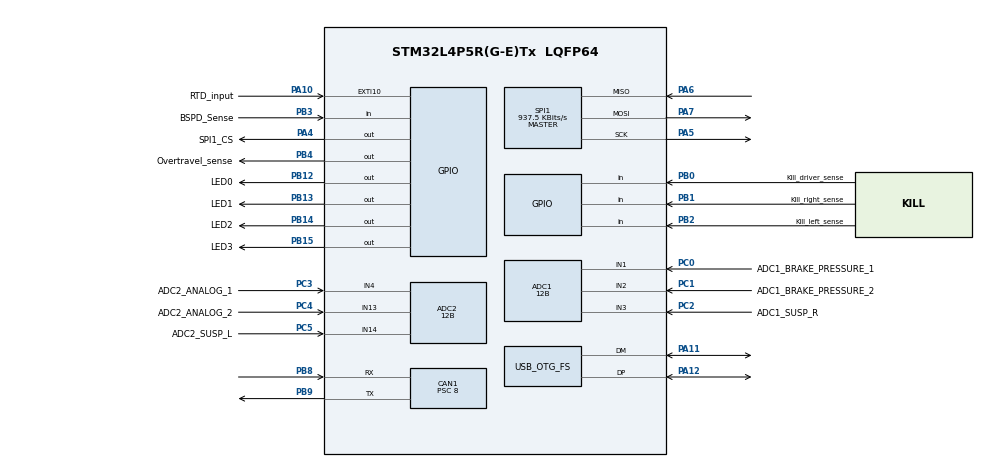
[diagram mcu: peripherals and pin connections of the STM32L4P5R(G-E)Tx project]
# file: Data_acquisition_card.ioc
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ADC1.Channel-0\#ChannelRegularConversion=ADC_CHANNEL_1
ADC1.Channel-1\#ChannelRegularConversion=ADC_CHANNEL_2
ADC1.Channel-2\#ChannelRegularConversion=ADC_CHANNEL_3
ADC1.ClockPrescaler=ADC_CLOCK_ASYNC_DIV2
ADC1.ContinuousConvMode=ENABLE
ADC1.DMAContinuousRequests=ENABLE
ADC1.NbrOfConversion=3
ADC1.NbrOfConversionFlag=1
ADC1.OffsetNumber-0\#ChannelRegularConversion=ADC_OFFSET_NONE
ADC1.OffsetNumber-1\#ChannelRegularConversion=ADC_OFFSET_NONE
ADC1.OffsetNumber-2\#ChannelRegularConversion=ADC_OFFSET_NONE
ADC1.Overrun=ADC_OVR_DATA_PRESERVED
ADC1.OversamplingMode=ENABLE
ADC1.Rank-0\#ChannelRegularConversion=1
ADC1.Rank-1\#ChannelRegularConversion=2
ADC1.Rank-2\#ChannelRegularConversion=3
ADC1.Ratio=ADC_OVERSAMPLING_RATIO_256
ADC1.Resolution=ADC_RESOLUTION_12B
ADC1.RightBitShift=ADC_RIGHTBITSHIFT_8
ADC1.SamplingTime-0\#ChannelRegularConversion=ADC_SAMPLETIME_92CYCLES_5
ADC1.SamplingTime-1\#ChannelRegularConversion=ADC_SAMPLETIME_92CYCLES_5
ADC1.SamplingTime-2\#ChannelRegularConversion=ADC_SAMPLETIME_92CYCLES_5
ADC1.master=1
ADC2.Channel-1\#ChannelRegularConversion=ADC_CHANNEL_4
ADC2.Channel-2\#ChannelRegularConversion=ADC_CHANNEL_13
ADC2.Channel-3\#ChannelRegularConversion=ADC_CHANNEL_14
ADC2.ClockPrescaler=ADC_CLOCK_ASYNC_DIV2
ADC2.ContinuousConvMode=ENABLE
ADC2.DMAContinuousRequests=ENABLE
ADC2.NbrOfConversion=3
ADC2.NbrOfConversionFlag=1
ADC2.OffsetNumber-1\#ChannelRegularConversion=ADC_OFFSET_NONE
ADC2.OffsetNumber-2\#ChannelRegularConversion=ADC_OFFSET_NONE
ADC2.OffsetNumber-3\#ChannelRegularConversion=ADC_OFFSET_NONE
ADC2.OversamplingMode=ENABLE
ADC2.Rank-1\#ChannelRegularConversion=1
ADC2.Rank-2\#ChannelRegularConversion=2
ADC2.Rank-3\#ChannelRegularConversion=3
ADC2.Ratio=ADC_OVERSAMPLING_RATIO_256
ADC2.Resolution=ADC_RESOLUTION_12B
ADC2.RightBitShift=ADC_RIGHTBITSHIFT_8
ADC2.SamplingTime-1\#ChannelRegularConversion=ADC_SAMPLETIME_92CYCLES_5
ADC2.SamplingTime-2\#ChannelRegularConversion=ADC_SAMPLETIME_92CYCLES_5
ADC2.SamplingTime-3\#ChannelRegularConversion=ADC_SAMPLETIME_92CYCLES_5
CAN1.BS1=CAN_BS1_12TQ
CAN1.BS2=CAN_BS2_2TQ
CAN1.CalculateBaudRate=999999
CAN1.CalculateTimeBit=1000
CAN1.CalculateTimeQuantum=66.66666666666667
CAN1.Prescaler=8
Dma.ADC1.0.Direction=DMA_PERIPH_TO_MEMORY
Dma.ADC1.0.EventEnable=DISABLE
Dma.ADC1.0.Instance=DMA1_Channel1
Dma.ADC1.0.MemDataAlignment=DMA_MDATAALIGN_HALFWORD
Dma.ADC1.0.MemInc=DMA_MINC_ENABLE
Dma.ADC1.0.Mode=DMA_CIRCULAR
Dma.ADC1.0.PeriphDataAlignment=DMA_PDATAALIGN_HALFWORD
Dma.ADC1.0.PeriphInc=DMA_PINC_DISABLE
Dma.ADC1.0.Polarity=HAL_DMAMUX_REQ_GEN_RISING
Dma.ADC1.0.Priority=DMA_PRIORITY_MEDIUM
Dma.ADC1.0.RequestNumber=1
Dma.ADC1.0.SignalID=NONE
Dma.ADC1.0.SyncEnable=DISABLE
Dma.ADC1.0.SyncPolarity=HAL_DMAMUX_SYNC_NO_EVENT
Dma.ADC1.0.SyncRequestNumber=1
Dma.ADC1.0.SyncSignalID=NONE
Dma.ADC2.1.Direction=DMA_PERIPH_TO_MEMORY
Dma.ADC2.1.EventEnable=DISABLE
Dma.ADC2.1.Instance=DMA1_Channel2
Dma.ADC2.1.MemDataAlignment=DMA_MDATAALIGN_HALFWORD
Dma.ADC2.1.MemInc=DMA_MINC_ENABLE
Dma.ADC2.1.Mode=DMA_CIRCULAR
Dma.ADC2.1.PeriphDataAlignment=DMA_PDATAALIGN_HALFWORD
Dma.ADC2.1.PeriphInc=DMA_PINC_DISABLE
Dma.ADC2.1.Polarity=HAL_DMAMUX_REQ_GEN_RISING
Dma.ADC2.1.Priority=DMA_PRIORITY_LOW
Dma.ADC2.1.RequestNumber=1
Dma.ADC2.1.SignalID=NONE
Dma.ADC2.1.SyncEnable=DISABLE
Dma.ADC2.1.SyncPolarity=HAL_DMAMUX_SYNC_NO_EVENT
Dma.ADC2.1.SyncRequestNumber=1
Dma.ADC2.1.SyncSignalID=NONE
Dma.Request0=ADC1
Dma.Request1=ADC2
Mcu.Family=STM32L4
Mcu.Name=STM32L4P5R(G-E)Tx
Mcu.Package=LQFP64
NVIC.CAN1_RX0_IRQn=true\:0\:0\:false\:false\:true\:true\:true\:true
NVIC.CAN1_RX1_IRQn=true\:0\:0\:false\:false\:true\:true\:true\:true
NVIC.DMA1_Channel1_IRQn=true\:0\:0\:false\:false\:true\:false\:true\:true
NVIC.DMA1_Channel2_IRQn=true\:0\:0\:false\:false\:true\:false\:true\:true
NVIC.EXTI15_10_IRQn=true\:0\:0\:false\:false\:true\:true\:true\:true
NVIC.OTG_FS_IRQn=true\:0\:0\:false\:false\:true\:false\:true\:true
NVIC.PriorityGroup=NVIC_PRIORITYGROUP_4
PA10.GPIO_Label=RTD_input
PA10.Signal=GPXTI10
PA11.Mode=Device_Only
PA11.Signal=USB_OTG_FS_DM
PA12.Mode=Device_Only
PA12.Signal=USB_OTG_FS_DP
PA13\ (JTMS/SWDIO).Mode=Serial_Wire
PA13\ (JTMS/SWDIO).Signal=SYS_JTMS-SWDIO
PA14\ (JTCK/SWCLK).Mode=Serial_Wire
PA14\ (JTCK/SWCLK).Signal=SYS_JTCK-SWCLK
PA4.GPIO_Label=SPI1_CS
PA4.Signal=GPIO_Output
PA5.Mode=Full_Duplex_Master
PA5.Signal=SPI1_SCK
PA6.Mode=Full_Duplex_Master
PA6.Signal=SPI1_MISO
PA7.Mode=Full_Duplex_Master
PA7.Signal=SPI1_MOSI
PB0.GPIO_Label=Kill_driver_sense
PB0.Signal=GPIO_Input
PB1.GPIO_Label=Kill_right_sense
PB1.Signal=GPIO_Input
PB12.GPIO_Label=LED0
PB12.Signal=GPIO_Output
PB13.GPIO_Label=LED1
PB13.Signal=GPIO_Output
PB14.GPIO_Label=LED2
PB14.Signal=GPIO_Output
PB15.GPIO_Label=LED3
PB15.Signal=GPIO_Output
PB2.GPIO_Label=Kill_left_sense
PB2.Signal=GPIO_Input
PB3\ (JTDO/TRACESWO).GPIO_Label=BSPD_Sense
PB3\ (JTDO/TRACESWO).Signal=GPIO_Input
PB4\ (NJTRST).GPIO_Label=Overtravel_sense
PB4\ (NJTRST).Signal=GPIO_Output
PB8.Mode=CAN_Activate
PB8.Signal=CAN1_RX
PB9.Mode=CAN_Activate
PB9.Signal=CAN1_TX
PC0.GPIO_Label=ADC1_BRAKE_PRESSURE_1
PC0.Signal=ADCx_IN1
PC1.GPIO_Label=ADC1_BRAKE_PRESSURE_2
PC1.Signal=ADCx_IN2
PC2.GPIO_Label=ADC1_SUSP_R
PC2.Signal=ADCx_IN3
PC3.GPIO_Label=ADC2_ANALOG_1
PC3.Signal=ADCx_IN4
PC4.GPIO_Label=ADC2_ANALOG_2
PC4.Signal=ADCx_IN13
PC5.GPIO_Label=ADC2_SUSP_L
PC5.Signal=ADCx_IN14
PH0-OSC_IN\ (PH0).Mode=HSE-External-Oscillator
PH0-OSC_IN\ (PH0).Signal=RCC_OSC_IN
PH1-OSC_OUT\ (PH1).Mode=HSE-External-Oscillator
PH1-OSC_OUT\ (PH1).Signal=RCC_OSC_OUT
ProjectManager.HeapSize=0x1000
ProjectManager.StackSize=0x600
ProjectManager.TargetToolchain=STM32CubeIDE
RCC.ADCFreq_Value=48000000
RCC.AHBFreq_Value=120000000
RCC.APB1Freq_Value=120000000
RCC.APB1TimFreq_Value=120000000
RCC.APB2Freq_Value=120000000
RCC.APB2TimFreq_Value=120000000
RCC.CortexFreq_Value=120000000
RCC.HCLKFreq_Value=120000000
RCC.HSE_VALUE=8000000
RCC.HSI48_VALUE=48000000
RCC.HSI_VALUE=16000000
RCC.LSE_VALUE=32768
RCC.MSI_VALUE=4000000
RCC.PLLN=30
RCC.PLLSAI1N=12
RCC.PLLSourceVirtual=RCC_PLLSOURCE_HSE
RCC.SYSCLKFreq_VALUE=120000000
RCC.SYSCLKSource=RCC_SYSCLKSOURCE_PLLCLK
RCC.USBFreq_Value=48000000
RCC.VCOOutputFreq_Value=240000000
SH.ADCx_IN1.0=ADC1_IN1,IN1-Single-Ended
SH.ADCx_IN13.0=ADC2_IN13,IN13-Single-Ended
SH.ADCx_IN14.0=ADC2_IN14,IN14-Single-Ended
SH.ADCx_IN2.0=ADC1_IN2,IN2-Single-Ended
SH.ADCx_IN3.0=ADC1_IN3,IN3-Single-Ended
SH.ADCx_IN4.0=ADC2_IN4,IN4-Single-Ended
SPI1.BaudRatePrescaler=SPI_BAUDRATEPRESCALER_128
SPI1.CLKPhase=SPI_PHASE_2EDGE
SPI1.CLKPolarity=SPI_POLARITY_HIGH
SPI1.CalculateBaudRate=937.5 KBits/s
SPI1.DataSize=SPI_DATASIZE_8BIT
SPI1.Direction=SPI_DIRECTION_2LINES
SPI1.Mode=SPI_MODE_MASTER
SPI1.VirtualType=VM_MASTER
USB_DEVICE.CLASS_NAME_FS=CDC
USB_DEVICE.VirtualMode=Cdc
USB_DEVICE.VirtualModeFS=Cdc_FS
USB_OTG_FS.VirtualMode=Device_Only
VP_USB_DEVICE_VS_USB_DEVICE_CDC_FS.Mode=CDC_FS
board=custom

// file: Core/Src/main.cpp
/* USER CODE BEGIN Header */
/**
  ******************************************************************************
  * @file           : main.c
  * @brief          : Main program body
  ******************************************************************************
  * @attention
  *
  * Copyright (c) 2022 STMicroelectronics.
  * All rights reserved.
  *
  * This software is licensed under terms that can be found in the LICENSE file
  * in the root directory of this software component.
  * If no LICENSE file comes with this software, it is provided AS-IS.
  *
  ******************************************************************************
  */
/* USER CODE END Header */
#include "main.h"
#include "usb_device.h"

/* USER CODE BEGIN Includes */
#include <cstdint>
#include <numeric>	//limits
#include "common_defs.hpp"
#include "can_functions.hpp"
#include "debugIO.hpp"
#include "main.h"
#include "imu_sensor.hpp"
#include "imu_sensor_compatibility_layer.h"	//function prototypes required by the imu
#include "usb_communication.hpp"
/* USER CODE END Includes */

ADC_HandleTypeDef hadc1;
ADC_HandleTypeDef hadc2;
DMA_HandleTypeDef hdma_adc1;
DMA_HandleTypeDef hdma_adc2;

CAN_HandleTypeDef hcan1;

SPI_HandleTypeDef hspi1;

/* USER CODE BEGIN PV */
volatile uint16_t adc1_buffer[ADC_BUFFER_SIZE]{};
volatile uint16_t adc2_buffer[ADC_BUFFER_SIZE]{};

bool send_rtd_signal_flag;
/* USER CODE END PV */

extern "C" void SystemClock_Config(void);
void PeriphCommonClock_Config(void);
static void MX_GPIO_Init(void);
static void MX_DMA_Init(void);
static void MX_SPI1_Init(void);
static void MX_ADC1_Init(void);
static void MX_ADC2_Init(void);
static void MX_CAN1_Init(void);

int main(void)
{

  /* MCU Configuration--------------------------------------------------------*/

  /* Reset of all peripherals, Initializes the Flash interface and the Systick. */
  HAL_Init();

  /* Configure the system clock */
  SystemClock_Config();

/* Configure the peripherals common clocks */
  PeriphCommonClock_Config();

  /* Initialize all configured peripherals */
  MX_GPIO_Init();
  MX_DMA_Init();
  MX_SPI1_Init();
  MX_ADC1_Init();
  MX_ADC2_Init();
  MX_CAN1_Init();
  MX_USB_DEVICE_Init();
  /* USER CODE BEGIN 2 */

  HAL_ADCEx_Calibration_Start(&hadc1, ADC_SINGLE_ENDED);
  HAL_ADCEx_Calibration_Start(&hadc2, ADC_SINGLE_ENDED);

  HAL_ADC_Start_DMA(&hadc1, (uint32_t *) adc1_buffer, ADC_BUFFER_SIZE);	//cast to wider type
  HAL_ADC_Start_DMA(&hadc2, (uint32_t *) adc2_buffer, ADC_BUFFER_SIZE);

  Canbus::initialize(&hcan1);

  //Initialize the IMU
  stmdev_ctx_t sensor_instance;

  sensor_instance.write_reg = &spi_write;
  sensor_instance.read_reg = &spi_read;
  sensor_instance.mdelay = &HAL_Delay;
  sensor_instance.handle = nullptr;	//handle is optional and won't be used

  HAL_Delay(3000);	//in case of a loss of power, the IMU needs ~3 s to be able to connect properly

  IMU::initialize(&sensor_instance);

  /* USER CODE END 2 */

  /* Infinite loop */
  /* USER CODE BEGIN WHILE */
  Device::setState(State::OK);
  uint32_t lastFramesSentTime{};
  while (1)
  {
	  IMU::updateSensorData();	//always poll the sensor when not busy

	  USB_DebugData::set_potentiometers(adc1_buffer[2], adc2_buffer[2]);

	  USB_DebugData::send();

	  if (send_rtd_signal_flag) {
		  Canbus::send_rtd_frame();
		  send_rtd_signal_flag = false;
	  }

	  if (lastFramesSentTime + FRAME_TO_FRAME_TIME < HAL_GetTick()) {

		  Canbus::send_main_frame(reinterpret_cast<volatile ADC1_Data *>(adc1_buffer), reinterpret_cast<volatile ADC2_Data *>(adc2_buffer)); //todo: is it strict aliasing rule violation?
		  auto [acc_x, acc_y, acc_z] = IMU::get_acc_data();
		  auto [gyro_x, gyro_y, gyro_z] = IMU::get_gyro_data();
		  Canbus::send_acc_frame(acc_x, acc_y, acc_z);
		  Canbus::send_gyroscope_frame(gyro_x, gyro_y, gyro_z);
		  lastFramesSentTime = HAL_GetTick();
	  }
    /* USER CODE END WHILE */

  }
}

extern "C" void SystemClock_Config(void)
{
  RCC_OscInitTypeDef RCC_OscInitStruct = {0};
  RCC_ClkInitTypeDef RCC_ClkInitStruct = {0};

  /** Configure the main internal regulator output voltage
  */
  if (HAL_PWREx_ControlVoltageScaling(PWR_REGULATOR_VOLTAGE_SCALE1_BOOST) != HAL_OK)
  {
    Error_Handler();
  }

  /** Initializes the RCC Oscillators according to the specified parameters
  * in the RCC_OscInitTypeDef structure.
  */
  RCC_OscInitStruct.OscillatorType = RCC_OSCILLATORTYPE_HSE;
  RCC_OscInitStruct.HSEState = RCC_HSE_ON;
  RCC_OscInitStruct.PLL.PLLState = RCC_PLL_ON;
  RCC_OscInitStruct.PLL.PLLSource = RCC_PLLSOURCE_HSE;
  RCC_OscInitStruct.PLL.PLLM = 1;
  RCC_OscInitStruct.PLL.PLLN = 30;
  RCC_OscInitStruct.PLL.PLLP = RCC_PLLP_DIV2;
  RCC_OscInitStruct.PLL.PLLQ = RCC_PLLQ_DIV2;
  RCC_OscInitStruct.PLL.PLLR = RCC_PLLR_DIV2;
  if (HAL_RCC_OscConfig(&RCC_OscInitStruct) != HAL_OK)
  {
    Error_Handler();
  }

  /** Initializes the CPU, AHB and APB buses clocks
  */
  RCC_ClkInitStruct.ClockType = RCC_CLOCKTYPE_HCLK|RCC_CLOCKTYPE_SYSCLK
                              |RCC_CLOCKTYPE_PCLK1|RCC_CLOCKTYPE_PCLK2;
  RCC_ClkInitStruct.SYSCLKSource = RCC_SYSCLKSOURCE_PLLCLK;
  RCC_ClkInitStruct.AHBCLKDivider = RCC_SYSCLK_DIV1;
  RCC_ClkInitStruct.APB1CLKDivider = RCC_HCLK_DIV1;
  RCC_ClkInitStruct.APB2CLKDivider = RCC_HCLK_DIV1;

  if (HAL_RCC_ClockConfig(&RCC_ClkInitStruct, FLASH_LATENCY_5) != HAL_OK)
  {
    Error_Handler();
  }
}

void PeriphCommonClock_Config(void)
{
  RCC_PeriphCLKInitTypeDef PeriphClkInit = {0};

  /** Initializes the peripherals clock
  */
  PeriphClkInit.PeriphClockSelection = RCC_PERIPHCLK_USB|RCC_PERIPHCLK_ADC;
  PeriphClkInit.AdcClockSelection = RCC_ADCCLKSOURCE_PLLSAI1;
  PeriphClkInit.UsbClockSelection = RCC_USBCLKSOURCE_PLLSAI1;
  PeriphClkInit.PLLSAI1.PLLSAI1Source = RCC_PLLSOURCE_HSE;
  PeriphClkInit.PLLSAI1.PLLSAI1M = 1;
  PeriphClkInit.PLLSAI1.PLLSAI1N = 12;
  PeriphClkInit.PLLSAI1.PLLSAI1P = RCC_PLLP_DIV2;
  PeriphClkInit.PLLSAI1.PLLSAI1Q = RCC_PLLQ_DIV2;
  PeriphClkInit.PLLSAI1.PLLSAI1R = RCC_PLLR_DIV2;
  PeriphClkInit.PLLSAI1.PLLSAI1ClockOut = RCC_PLLSAI1_48M2CLK|RCC_PLLSAI1_ADC1CLK;
  if (HAL_RCCEx_PeriphCLKConfig(&PeriphClkInit) != HAL_OK)
  {
    Error_Handler();
  }
}

static void MX_ADC1_Init(void)
{

  ADC_MultiModeTypeDef multimode = {0};
  ADC_ChannelConfTypeDef sConfig = {0};

  /** Common config
  */
  hadc1.Instance = ADC1;
  hadc1.Init.ClockPrescaler = ADC_CLOCK_ASYNC_DIV2;
  hadc1.Init.Resolution = ADC_RESOLUTION_12B;
  hadc1.Init.DataAlign = ADC_DATAALIGN_RIGHT;
  hadc1.Init.ScanConvMode = ADC_SCAN_ENABLE;
  hadc1.Init.EOCSelection = ADC_EOC_SINGLE_CONV;
  hadc1.Init.LowPowerAutoWait = DISABLE;
  hadc1.Init.ContinuousConvMode = ENABLE;
  hadc1.Init.NbrOfConversion = 3;
  hadc1.Init.DiscontinuousConvMode = DISABLE;
  hadc1.Init.ExternalTrigConv = ADC_SOFTWARE_START;
  hadc1.Init.ExternalTrigConvEdge = ADC_EXTERNALTRIGCONVEDGE_NONE;
  hadc1.Init.DMAContinuousRequests = ENABLE;
  hadc1.Init.Overrun = ADC_OVR_DATA_PRESERVED;
  hadc1.Init.OversamplingMode = ENABLE;
  hadc1.Init.Oversampling.Ratio = ADC_OVERSAMPLING_RATIO_256;
  hadc1.Init.Oversampling.RightBitShift = ADC_RIGHTBITSHIFT_8;
  hadc1.Init.Oversampling.TriggeredMode = ADC_TRIGGEREDMODE_SINGLE_TRIGGER;
  hadc1.Init.Oversampling.OversamplingStopReset = ADC_REGOVERSAMPLING_CONTINUED_MODE;
  if (HAL_ADC_Init(&hadc1) != HAL_OK)
  {
    Error_Handler();
  }

  /** Configure the ADC multi-mode
  */
  multimode.Mode = ADC_MODE_INDEPENDENT;
  if (HAL_ADCEx_MultiModeConfigChannel(&hadc1, &multimode) != HAL_OK)
  {
    Error_Handler();
  }

  /** Configure Regular Channel
  */
  sConfig.Channel = ADC_CHANNEL_1;
  sConfig.Rank = ADC_REGULAR_RANK_1;
  sConfig.SamplingTime = ADC_SAMPLETIME_92CYCLES_5;
  sConfig.SingleDiff = ADC_SINGLE_ENDED;
  sConfig.OffsetNumber = ADC_OFFSET_NONE;
  sConfig.Offset = 0;
  if (HAL_ADC_ConfigChannel(&hadc1, &sConfig) != HAL_OK)
  {
    Error_Handler();
  }

  /** Configure Regular Channel
  */
  sConfig.Channel = ADC_CHANNEL_2;
  sConfig.Rank = ADC_REGULAR_RANK_2;
  if (HAL_ADC_ConfigChannel(&hadc1, &sConfig) != HAL_OK)
  {
    Error_Handler();
  }

  /** Configure Regular Channel
  */
  sConfig.Channel = ADC_CHANNEL_3;
  sConfig.Rank = ADC_REGULAR_RANK_3;
  if (HAL_ADC_ConfigChannel(&hadc1, &sConfig) != HAL_OK)
  {
    Error_Handler();
  }

}

static void MX_ADC2_Init(void)
{

  ADC_ChannelConfTypeDef sConfig = {0};

  /** Common config
  */
  hadc2.Instance = ADC2;
  hadc2.Init.ClockPrescaler = ADC_CLOCK_ASYNC_DIV2;
  hadc2.Init.Resolution = ADC_RESOLUTION_12B;
  hadc2.Init.DataAlign = ADC_DATAALIGN_RIGHT;
  hadc2.Init.ScanConvMode = ADC_SCAN_ENABLE;
  hadc2.Init.EOCSelection = ADC_EOC_SINGLE_CONV;
  hadc2.Init.LowPowerAutoWait = DISABLE;
  hadc2.Init.ContinuousConvMode = ENABLE;
  hadc2.Init.NbrOfConversion = 3;
  hadc2.Init.DiscontinuousConvMode = DISABLE;
  hadc2.Init.ExternalTrigConv = ADC_SOFTWARE_START;
  hadc2.Init.ExternalTrigConvEdge = ADC_EXTERNALTRIGCONVEDGE_NONE;
  hadc2.Init.DMAContinuousRequests = ENABLE;
  hadc2.Init.Overrun = ADC_OVR_DATA_PRESERVED;
  hadc2.Init.OversamplingMode = ENABLE;
  hadc2.Init.Oversampling.Ratio = ADC_OVERSAMPLING_RATIO_256;
  hadc2.Init.Oversampling.RightBitShift = ADC_RIGHTBITSHIFT_8;
  hadc2.Init.Oversampling.TriggeredMode = ADC_TRIGGEREDMODE_SINGLE_TRIGGER;
  hadc2.Init.Oversampling.OversamplingStopReset = ADC_REGOVERSAMPLING_CONTINUED_MODE;
  if (HAL_ADC_Init(&hadc2) != HAL_OK)
  {
    Error_Handler();
  }

  /** Configure Regular Channel
  */
  sConfig.Channel = ADC_CHANNEL_4;
  sConfig.Rank = ADC_REGULAR_RANK_1;
  sConfig.SamplingTime = ADC_SAMPLETIME_92CYCLES_5;
  sConfig.SingleDiff = ADC_SINGLE_ENDED;
  sConfig.OffsetNumber = ADC_OFFSET_NONE;
  sConfig.Offset = 0;
  if (HAL_ADC_ConfigChannel(&hadc2, &sConfig) != HAL_OK)
  {
    Error_Handler();
  }

  /** Configure Regular Channel
  */
  sConfig.Channel = ADC_CHANNEL_13;
  sConfig.Rank = ADC_REGULAR_RANK_2;
  if (HAL_ADC_ConfigChannel(&hadc2, &sConfig) != HAL_OK)
  {
    Error_Handler();
  }

  /** Configure Regular Channel
  */
  sConfig.Channel = ADC_CHANNEL_14;
  sConfig.Rank = ADC_REGULAR_RANK_3;
  if (HAL_ADC_ConfigChannel(&hadc2, &sConfig) != HAL_OK)
  {
    Error_Handler();
  }

}

static void MX_CAN1_Init(void)
{

  hcan1.Instance = CAN1;
  hcan1.Init.Prescaler = 8;
  hcan1.Init.Mode = CAN_MODE_NORMAL;
  hcan1.Init.SyncJumpWidth = CAN_SJW_1TQ;
  hcan1.Init.TimeSeg1 = CAN_BS1_12TQ;
  hcan1.Init.TimeSeg2 = CAN_BS2_2TQ;
  hcan1.Init.TimeTriggeredMode = DISABLE;
  hcan1.Init.AutoBusOff = DISABLE;
  hcan1.Init.AutoWakeUp = DISABLE;
  hcan1.Init.AutoRetransmission = DISABLE;
  hcan1.Init.ReceiveFifoLocked = DISABLE;
  hcan1.Init.TransmitFifoPriority = DISABLE;
  if (HAL_CAN_Init(&hcan1) != HAL_OK)
  {
    Error_Handler();
  }

}

static void MX_SPI1_Init(void)
{

  /* SPI1 parameter configuration*/
  hspi1.Instance = SPI1;
  hspi1.Init.Mode = SPI_MODE_MASTER;
  hspi1.Init.Direction = SPI_DIRECTION_2LINES;
  hspi1.Init.DataSize = SPI_DATASIZE_8BIT;
  hspi1.Init.CLKPolarity = SPI_POLARITY_HIGH;
  hspi1.Init.CLKPhase = SPI_PHASE_2EDGE;
  hspi1.Init.NSS = SPI_NSS_SOFT;
  hspi1.Init.BaudRatePrescaler = SPI_BAUDRATEPRESCALER_128;
  hspi1.Init.FirstBit = SPI_FIRSTBIT_MSB;
  hspi1.Init.TIMode = SPI_TIMODE_DISABLE;
  hspi1.Init.CRCCalculation = SPI_CRCCALCULATION_DISABLE;
  hspi1.Init.CRCPolynomial = 7;
  hspi1.Init.CRCLength = SPI_CRC_LENGTH_DATASIZE;
  hspi1.Init.NSSPMode = SPI_NSS_PULSE_DISABLE;
  if (HAL_SPI_Init(&hspi1) != HAL_OK)
  {
    Error_Handler();
  }

}

static void MX_DMA_Init(void)
{

  /* DMA controller clock enable */
  __HAL_RCC_DMAMUX1_CLK_ENABLE();
  __HAL_RCC_DMA1_CLK_ENABLE();

  /* DMA interrupt init */
  /* DMA1_Channel1_IRQn interrupt configuration */
  HAL_NVIC_SetPriority(DMA1_Channel1_IRQn, 0, 0);
  HAL_NVIC_EnableIRQ(DMA1_Channel1_IRQn);
  /* DMA1_Channel2_IRQn interrupt configuration */
  HAL_NVIC_SetPriority(DMA1_Channel2_IRQn, 0, 0);
  HAL_NVIC_EnableIRQ(DMA1_Channel2_IRQn);

}

static void MX_GPIO_Init(void)
{
  GPIO_InitTypeDef GPIO_InitStruct = {0};

  /* GPIO Ports Clock Enable */
  __HAL_RCC_GPIOH_CLK_ENABLE();
  __HAL_RCC_GPIOC_CLK_ENABLE();
  __HAL_RCC_GPIOA_CLK_ENABLE();
  __HAL_RCC_GPIOB_CLK_ENABLE();

  /*Configure GPIO pin Output Level */
  HAL_GPIO_WritePin(SPI1_CS_GPIO_Port, SPI1_CS_Pin, GPIO_PIN_RESET);

  /*Configure GPIO pin Output Level */
  HAL_GPIO_WritePin(GPIOB, LED0_Pin|LED1_Pin|LED2_Pin|LED3_Pin
                          |Overtravel_sense_Pin, GPIO_PIN_RESET);

  /*Configure GPIO pin : SPI1_CS_Pin */
  GPIO_InitStruct.Pin = SPI1_CS_Pin;
  GPIO_InitStruct.Mode = GPIO_MODE_OUTPUT_PP;
  GPIO_InitStruct.Pull = GPIO_NOPULL;
  GPIO_InitStruct.Speed = GPIO_SPEED_FREQ_LOW;
  HAL_GPIO_Init(SPI1_CS_GPIO_Port, &GPIO_InitStruct);

  /*Configure GPIO pins : Kill_driver_sense_Pin Kill_right_sense_Pin Kill_left_sense_Pin BSPD_Sense_Pin */
  GPIO_InitStruct.Pin = Kill_driver_sense_Pin|Kill_right_sense_Pin|Kill_left_sense_Pin|BSPD_Sense_Pin;
  GPIO_InitStruct.Mode = GPIO_MODE_INPUT;
  GPIO_InitStruct.Pull = GPIO_NOPULL;
  HAL_GPIO_Init(GPIOB, &GPIO_InitStruct);

  /*Configure GPIO pins : LED0_Pin LED1_Pin LED2_Pin LED3_Pin
                           Overtravel_sense_Pin */
  GPIO_InitStruct.Pin = LED0_Pin|LED1_Pin|LED2_Pin|LED3_Pin
                          |Overtravel_sense_Pin;
  GPIO_InitStruct.Mode = GPIO_MODE_OUTPUT_PP;
  GPIO_InitStruct.Pull = GPIO_NOPULL;
  GPIO_InitStruct.Speed = GPIO_SPEED_FREQ_LOW;
  HAL_GPIO_Init(GPIOB, &GPIO_InitStruct);

  /*Configure GPIO pin : RTD_input_Pin */
  GPIO_InitStruct.Pin = RTD_input_Pin;
  GPIO_InitStruct.Mode = GPIO_MODE_IT_RISING;
  GPIO_InitStruct.Pull = GPIO_NOPULL;
  HAL_GPIO_Init(RTD_input_GPIO_Port, &GPIO_InitStruct);

  /* EXTI interrupt init*/
  HAL_NVIC_SetPriority(EXTI15_10_IRQn, 0, 0);
  HAL_NVIC_EnableIRQ(EXTI15_10_IRQn);

}

void Error_Handler(void)
{
  /* USER CODE BEGIN Error_Handler_Debug */
	Device::setState(State::HALError);	//the underlying assumption is this function will only be called by the HAL-generated code
  /* User can add his own implementation to report the HAL error return state */
  __disable_irq();
  while (1)
  {
  }
  /* USER CODE END Error_Handler_Debug */
}

#ifdef  USE_FULL_ASSERT
/**
  * @brief  Reports the name of the source file and the source line number
  *         where the assert_param error has occurred.
  * @param  file: pointer to the source file name
  * @param  line: assert_param error line source number
  * @retval None
  */
void assert_failed(uint8_t *file, uint32_t line)
{
  /* USER CODE BEGIN 6 */
	UNUSED(file);
	UNUSED(line);
	Device::setState(State::HALAssertionFailed);
	__disable_irq();

	while (true);
  /* USER CODE END 6 */
}
#endif /* USE_FULL_ASSERT */
